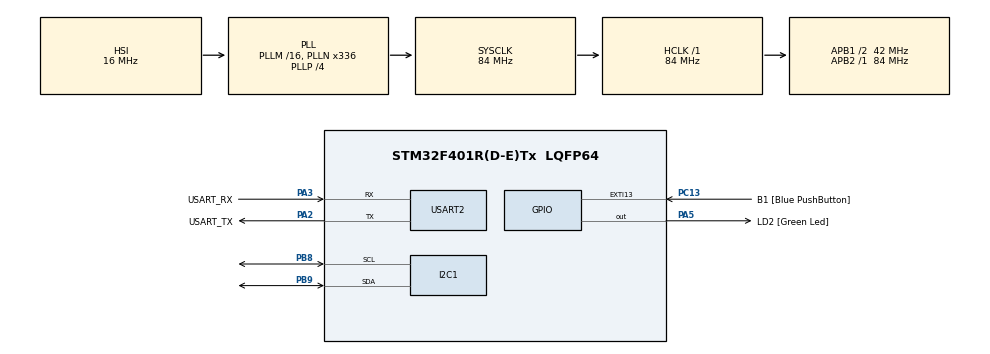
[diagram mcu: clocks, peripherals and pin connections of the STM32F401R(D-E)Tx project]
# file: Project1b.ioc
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Dma.Request0=USART2_TX
Dma.USART2_TX.0.Direction=DMA_MEMORY_TO_PERIPH
Dma.USART2_TX.0.FIFOMode=DMA_FIFOMODE_DISABLE
Dma.USART2_TX.0.Instance=DMA1_Stream6
Dma.USART2_TX.0.MemDataAlignment=DMA_MDATAALIGN_BYTE
Dma.USART2_TX.0.MemInc=DMA_MINC_ENABLE
Dma.USART2_TX.0.Mode=DMA_NORMAL
Dma.USART2_TX.0.PeriphDataAlignment=DMA_PDATAALIGN_BYTE
Dma.USART2_TX.0.PeriphInc=DMA_PINC_DISABLE
Dma.USART2_TX.0.Priority=DMA_PRIORITY_LOW
Mcu.Family=STM32F4
Mcu.Name=STM32F401R(D-E)Tx
Mcu.Package=LQFP64
NVIC.DMA1_Stream6_IRQn=true\:0\:0\:false\:false\:true\:false\:true\:true
NVIC.PriorityGroup=NVIC_PRIORITYGROUP_0
NVIC.TIM2_IRQn=true\:0\:0\:false\:false\:true\:true\:true\:true
NVIC.USART2_IRQn=true\:0\:0\:false\:false\:true\:true\:true\:true
PA13.GPIO_Label=TMS
PA13.Mode=Serial_Wire
PA13.Signal=SYS_JTMS-SWDIO
PA14.GPIO_Label=TCK
PA14.Mode=Serial_Wire
PA14.Signal=SYS_JTCK-SWCLK
PA2.GPIO_Label=USART_TX
PA2.GPIO_Mode=GPIO_MODE_AF_PP
PA2.GPIO_PuPd=GPIO_NOPULL
PA2.GPIO_Speed=GPIO_SPEED_FREQ_LOW
PA2.Mode=Asynchronous
PA2.Signal=USART2_TX
PA3.GPIO_Label=USART_RX
PA3.GPIO_Mode=GPIO_MODE_AF_PP
PA3.GPIO_PuPd=GPIO_NOPULL
PA3.GPIO_Speed=GPIO_SPEED_FREQ_LOW
PA3.Mode=Asynchronous
PA3.Signal=USART2_RX
PA5.GPIO_Label=LD2 [Green Led]
PA5.GPIO_Mode=GPIO_MODE_OUTPUT_PP
PA5.GPIO_PuPd=GPIO_NOPULL
PA5.GPIO_Speed=GPIO_SPEED_FREQ_LOW
PA5.Signal=GPIO_Output
PB3.GPIO_Label=SWO
PB3.Signal=SYS_JTDO-SWO
PB8.Mode=I2C
PB8.Signal=I2C1_SCL
PB9.Mode=I2C
PB9.Signal=I2C1_SDA
PC13-ANTI_TAMP.GPIO_Label=B1 [Blue PushButton]
PC13-ANTI_TAMP.GPIO_ModeDefaultEXTI=GPIO_MODE_IT_FALLING
PC13-ANTI_TAMP.GPIO_PuPd=GPIO_NOPULL
PC13-ANTI_TAMP.Signal=GPXTI13
PC14-OSC32_IN.Mode=LSE-External-Oscillator
PC14-OSC32_IN.Signal=RCC_OSC32_IN
PC15-OSC32_OUT.Mode=LSE-External-Oscillator
PC15-OSC32_OUT.Signal=RCC_OSC32_OUT
PH0\ -\ OSC_IN.Mode=HSE-External-Clock-Source
PH0\ -\ OSC_IN.Signal=RCC_OSC_IN
PH1\ -\ OSC_OUT.Mode=HSE-External-Clock-Source
PH1\ -\ OSC_OUT.Signal=RCC_OSC_OUT
ProjectManager.HeapSize=0x200
ProjectManager.StackSize=0x400
ProjectManager.TargetToolchain=STM32CubeIDE
RCC.48MHZClocksFreq_Value=48000000
RCC.AHBFreq_Value=84000000
RCC.APB1CLKDivider=RCC_HCLK_DIV2
RCC.APB1Freq_Value=42000000
RCC.APB1TimFreq_Value=84000000
RCC.APB2Freq_Value=84000000
RCC.APB2TimFreq_Value=84000000
RCC.CortexFreq_Value=84000000
RCC.HCLKFreq_Value=84000000
RCC.HSE_VALUE=8000000
RCC.HSI_VALUE=16000000
RCC.PLLN=336
RCC.PLLP=RCC_PLLP_DIV4
RCC.PLLQ=7
RCC.SYSCLKFreq_VALUE=84000000
RCC.SYSCLKSource=RCC_SYSCLKSOURCE_PLLCLK
RCC.VCOOutputFreq_Value=336000000
TIM2.Period=9999
TIM2.Prescaler=8399
USART2.VirtualMode=VM_ASYNC
VP_TIM2_VS_ClockSourceINT.Mode=Internal
board=NUCLEO-F401RE

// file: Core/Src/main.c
/* USER CODE BEGIN Header */
/**
  ******************************************************************************
  * @file           : main.c
  * @brief          : Main program body
  ******************************************************************************
  * @attention
  *
  * Copyright (c) 2023 STMicroelectronics.
  * All rights reserved.
  *
  * This software is licensed under terms that can be found in the LICENSE file
  * in the root directory of this software component.
  * If no LICENSE file comes with this software, it is provided AS-IS.
  *
  ******************************************************************************
  */
/* USER CODE END Header */
#include "main.h"

/* USER CODE BEGIN Includes */
#include <stdio.h>
/* USER CODE END Includes */

I2C_HandleTypeDef hi2c1;

TIM_HandleTypeDef htim2;

UART_HandleTypeDef huart2;
DMA_HandleTypeDef hdma_usart2_tx;

/* USER CODE BEGIN PV */

//LIS2DE
uint8_t ACCEL_ADD = 0b01010000;

//LIS2DE12
uint8_t LIS2DE12_ADD = 0b00110000;

//reg address, 1Hz + XYZ enabled
uint8_t CTRL_REG1[] = {0x20,0b00010111};

//reg address, no HPF (default value at startup)
uint8_t CTRL_REG2[] = {0x21,0x00};

//reg address, continuous update + 2g FSR + self test disabled (default value at startup)
uint8_t CTRL_REG4[] = {0x23,0x00};

//addresses of the axis acceleration registers
uint8_t OUT_X_ADD = 0x29;
uint8_t OUT_Y_ADD = 0x2B;
uint8_t OUT_Z_ADD = 0x2D;

char str[64];
int len = 0;

volatile int8_t acc_x = 0;
volatile int8_t acc_y = 0;
volatile int8_t acc_z = 0;
volatile float acc_g_x = 0;
volatile float acc_g_y = 0;
volatile float acc_g_z = 0;

/* USER CODE END PV */

void SystemClock_Config(void);
static void MX_GPIO_Init(void);
static void MX_DMA_Init(void);
static void MX_USART2_UART_Init(void);
static void MX_I2C1_Init(void);
static void MX_TIM2_Init(void);

/* USER CODE BEGIN 0 */
void HAL_TIM_PeriodElapsedCallback(TIM_HandleTypeDef *htim){
	if(HAL_I2C_Master_Transmit(&hi2c1,ACCEL_ADD,&OUT_X_ADD,1,50) != HAL_OK){
		Error_Handler();
	}
	if(HAL_I2C_Master_Receive(&hi2c1,ACCEL_ADD+1,&acc_x,1,50) != HAL_OK){
		Error_Handler();
	}

	if(HAL_I2C_Master_Transmit(&hi2c1,ACCEL_ADD,&OUT_Y_ADD,1,50) != HAL_OK){
			Error_Handler();
	}
	if(HAL_I2C_Master_Receive(&hi2c1,ACCEL_ADD+1,&acc_y,1,50) != HAL_OK){
			Error_Handler();
	}

	if(HAL_I2C_Master_Transmit(&hi2c1,ACCEL_ADD,&OUT_Z_ADD,1,50) != HAL_OK){
			Error_Handler();
	}
	if(HAL_I2C_Master_Receive(&hi2c1,ACCEL_ADD+1,&acc_z,1,50) != HAL_OK){
			Error_Handler();
	}

	acc_g_x = acc_x/63.0;
	acc_g_y = acc_y/63.0;
	acc_g_z = acc_z/63.0;

	len = snprintf(str,sizeof(str),"X: %+.2f g\r\nY: %+.2f g\r\nZ: %+.2f g\r\n\r\n",acc_g_x,acc_g_y,acc_g_z);
	HAL_UART_Transmit_DMA(&huart2,str,len);

}
/* USER CODE END 0 */

int main(void)
{

  /* MCU Configuration--------------------------------------------------------*/

  /* Reset of all peripherals, Initializes the Flash interface and the Systick. */
  HAL_Init();

  /* Configure the system clock */
  SystemClock_Config();

  /* Initialize all configured peripherals */
  MX_GPIO_Init();
  MX_DMA_Init();
  MX_USART2_UART_Init();
  MX_I2C1_Init();
  MX_TIM2_Init();
  /* USER CODE BEGIN 2 */

    //Initialize accelerometer
    if(HAL_I2C_Master_Transmit(&hi2c1,ACCEL_ADD,CTRL_REG1,sizeof(CTRL_REG1),50) == HAL_OK){
  	  len = snprintf(str,sizeof(str),"LIS2DE found\r\n");
    }
    else{
  	  ACCEL_ADD = LIS2DE12_ADD;
  	  if(HAL_I2C_Master_Transmit(&hi2c1,ACCEL_ADD,CTRL_REG1,sizeof(CTRL_REG1),50) == HAL_OK){
  	  	  len = snprintf(str,sizeof(str),"LIS2DE12 found\r\n");
  	    }
  	  else{
  		  len = snprintf(str,sizeof(str),"Accelerometer error\r\n");
  	  }
    }
    HAL_UART_Transmit_DMA(&huart2,str,len);
    HAL_I2C_Master_Transmit(&hi2c1,ACCEL_ADD,CTRL_REG2,sizeof(CTRL_REG2),50);
    HAL_I2C_Master_Transmit(&hi2c1,ACCEL_ADD,CTRL_REG4,sizeof(CTRL_REG4),50);
    HAL_TIM_Base_Start_IT(&htim2);
  /* USER CODE END 2 */

  /* Infinite loop */
  while (1)
  {

  }
}

void SystemClock_Config(void)
{
  RCC_OscInitTypeDef RCC_OscInitStruct = {0};
  RCC_ClkInitTypeDef RCC_ClkInitStruct = {0};

  /** Configure the main internal regulator output voltage
  */
  __HAL_RCC_PWR_CLK_ENABLE();
  __HAL_PWR_VOLTAGESCALING_CONFIG(PWR_REGULATOR_VOLTAGE_SCALE2);

  /** Initializes the RCC Oscillators according to the specified parameters
  * in the RCC_OscInitTypeDef structure.
  */
  RCC_OscInitStruct.OscillatorType = RCC_OSCILLATORTYPE_HSI;
  RCC_OscInitStruct.HSIState = RCC_HSI_ON;
  RCC_OscInitStruct.HSICalibrationValue = RCC_HSICALIBRATION_DEFAULT;
  RCC_OscInitStruct.PLL.PLLState = RCC_PLL_ON;
  RCC_OscInitStruct.PLL.PLLSource = RCC_PLLSOURCE_HSI;
  RCC_OscInitStruct.PLL.PLLM = 16;
  RCC_OscInitStruct.PLL.PLLN = 336;
  RCC_OscInitStruct.PLL.PLLP = RCC_PLLP_DIV4;
  RCC_OscInitStruct.PLL.PLLQ = 7;
  if (HAL_RCC_OscConfig(&RCC_OscInitStruct) != HAL_OK)
  {
    Error_Handler();
  }

  /** Initializes the CPU, AHB and APB buses clocks
  */
  RCC_ClkInitStruct.ClockType = RCC_CLOCKTYPE_HCLK|RCC_CLOCKTYPE_SYSCLK
                              |RCC_CLOCKTYPE_PCLK1|RCC_CLOCKTYPE_PCLK2;
  RCC_ClkInitStruct.SYSCLKSource = RCC_SYSCLKSOURCE_PLLCLK;
  RCC_ClkInitStruct.AHBCLKDivider = RCC_SYSCLK_DIV1;
  RCC_ClkInitStruct.APB1CLKDivider = RCC_HCLK_DIV2;
  RCC_ClkInitStruct.APB2CLKDivider = RCC_HCLK_DIV1;

  if (HAL_RCC_ClockConfig(&RCC_ClkInitStruct, FLASH_LATENCY_2) != HAL_OK)
  {
    Error_Handler();
  }
}

static void MX_I2C1_Init(void)
{

  hi2c1.Instance = I2C1;
  hi2c1.Init.ClockSpeed = 100000;
  hi2c1.Init.DutyCycle = I2C_DUTYCYCLE_2;
  hi2c1.Init.OwnAddress1 = 0;
  hi2c1.Init.AddressingMode = I2C_ADDRESSINGMODE_7BIT;
  hi2c1.Init.DualAddressMode = I2C_DUALADDRESS_DISABLE;
  hi2c1.Init.OwnAddress2 = 0;
  hi2c1.Init.GeneralCallMode = I2C_GENERALCALL_DISABLE;
  hi2c1.Init.NoStretchMode = I2C_NOSTRETCH_DISABLE;
  if (HAL_I2C_Init(&hi2c1) != HAL_OK)
  {
    Error_Handler();
  }

}

static void MX_TIM2_Init(void)
{

  TIM_ClockConfigTypeDef sClockSourceConfig = {0};
  TIM_MasterConfigTypeDef sMasterConfig = {0};

  htim2.Instance = TIM2;
  htim2.Init.Prescaler = 8399;
  htim2.Init.CounterMode = TIM_COUNTERMODE_UP;
  htim2.Init.Period = 9999;
  htim2.Init.ClockDivision = TIM_CLOCKDIVISION_DIV1;
  htim2.Init.AutoReloadPreload = TIM_AUTORELOAD_PRELOAD_DISABLE;
  if (HAL_TIM_Base_Init(&htim2) != HAL_OK)
  {
    Error_Handler();
  }
  sClockSourceConfig.ClockSource = TIM_CLOCKSOURCE_INTERNAL;
  if (HAL_TIM_ConfigClockSource(&htim2, &sClockSourceConfig) != HAL_OK)
  {
    Error_Handler();
  }
  sMasterConfig.MasterOutputTrigger = TIM_TRGO_RESET;
  sMasterConfig.MasterSlaveMode = TIM_MASTERSLAVEMODE_DISABLE;
  if (HAL_TIMEx_MasterConfigSynchronization(&htim2, &sMasterConfig) != HAL_OK)
  {
    Error_Handler();
  }

}

static void MX_USART2_UART_Init(void)
{

  huart2.Instance = USART2;
  huart2.Init.BaudRate = 115200;
  huart2.Init.WordLength = UART_WORDLENGTH_8B;
  huart2.Init.StopBits = UART_STOPBITS_1;
  huart2.Init.Parity = UART_PARITY_NONE;
  huart2.Init.Mode = UART_MODE_TX_RX;
  huart2.Init.HwFlowCtl = UART_HWCONTROL_NONE;
  huart2.Init.OverSampling = UART_OVERSAMPLING_16;
  if (HAL_UART_Init(&huart2) != HAL_OK)
  {
    Error_Handler();
  }

}

static void MX_DMA_Init(void)
{

  /* DMA controller clock enable */
  __HAL_RCC_DMA1_CLK_ENABLE();

  /* DMA interrupt init */
  /* DMA1_Stream6_IRQn interrupt configuration */
  HAL_NVIC_SetPriority(DMA1_Stream6_IRQn, 0, 0);
  HAL_NVIC_EnableIRQ(DMA1_Stream6_IRQn);

}

static void MX_GPIO_Init(void)
{
  GPIO_InitTypeDef GPIO_InitStruct = {0};

  /* GPIO Ports Clock Enable */
  __HAL_RCC_GPIOC_CLK_ENABLE();
  __HAL_RCC_GPIOH_CLK_ENABLE();
  __HAL_RCC_GPIOA_CLK_ENABLE();
  __HAL_RCC_GPIOB_CLK_ENABLE();

  /*Configure GPIO pin Output Level */
  HAL_GPIO_WritePin(LD2_GPIO_Port, LD2_Pin, GPIO_PIN_RESET);

  /*Configure GPIO pin : B1_Pin */
  GPIO_InitStruct.Pin = B1_Pin;
  GPIO_InitStruct.Mode = GPIO_MODE_IT_FALLING;
  GPIO_InitStruct.Pull = GPIO_NOPULL;
  HAL_GPIO_Init(B1_GPIO_Port, &GPIO_InitStruct);

  /*Configure GPIO pin : LD2_Pin */
  GPIO_InitStruct.Pin = LD2_Pin;
  GPIO_InitStruct.Mode = GPIO_MODE_OUTPUT_PP;
  GPIO_InitStruct.Pull = GPIO_NOPULL;
  GPIO_InitStruct.Speed = GPIO_SPEED_FREQ_LOW;
  HAL_GPIO_Init(LD2_GPIO_Port, &GPIO_InitStruct);

}

void Error_Handler(void)
{
  __disable_irq();
  while (1)
  {
  }
}
